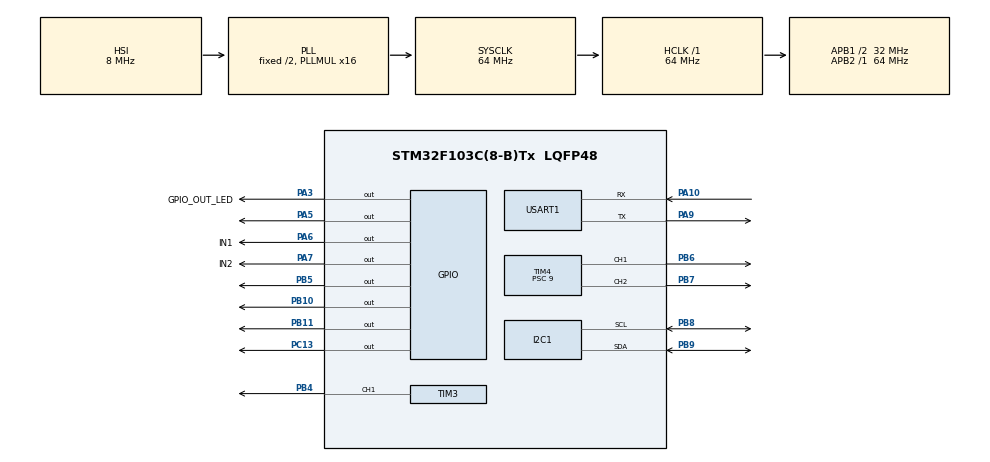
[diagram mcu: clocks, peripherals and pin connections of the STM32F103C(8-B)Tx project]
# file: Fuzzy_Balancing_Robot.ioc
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Mcu.Family=STM32F1
Mcu.Name=STM32F103C(8-B)Tx
Mcu.Package=LQFP48
NVIC.PriorityGroup=NVIC_PRIORITYGROUP_4
NVIC.TIM1_UP_IRQn=true\:0\:0\:false\:false\:true\:true\:true\:true
PA10.Mode=Asynchronous
PA10.Signal=USART1_RX
PA13.Mode=Serial_Wire
PA13.Signal=SYS_JTMS-SWDIO
PA14.Mode=Serial_Wire
PA14.Signal=SYS_JTCK-SWCLK
PA3.GPIO_Label=GPIO_OUT_LED
PA3.Signal=GPIO_Output
PA5.Signal=GPIO_Output
PA6.GPIO_Label=IN1
PA6.Signal=GPIO_Output
PA7.GPIO_Label=IN2
PA7.Signal=GPIO_Output
PA9.Mode=Asynchronous
PA9.Signal=USART1_TX
PB10.Signal=GPIO_Output
PB11.Signal=GPIO_Output
PB4.Signal=S_TIM3_CH1
PB5.Signal=GPIO_Output
PB6.Signal=S_TIM4_CH1
PB7.Signal=S_TIM4_CH2
PB8.Mode=I2C
PB8.Signal=I2C1_SCL
PB9.Mode=I2C
PB9.Signal=I2C1_SDA
PC13-TAMPER-RTC.Signal=GPIO_Output
PD0-OSC_IN.Mode=HSE-External-Oscillator
PD0-OSC_IN.Signal=RCC_OSC_IN
PD1-OSC_OUT.Mode=HSE-External-Oscillator
PD1-OSC_OUT.Signal=RCC_OSC_OUT
ProjectManager.HeapSize=0x200
ProjectManager.StackSize=0x400
ProjectManager.TargetToolchain=STM32CubeIDE
RCC.AHBFreq_Value=64000000
RCC.APB1CLKDivider=RCC_HCLK_DIV2
RCC.APB1Freq_Value=32000000
RCC.APB1TimFreq_Value=64000000
RCC.APB2Freq_Value=64000000
RCC.APB2TimFreq_Value=64000000
RCC.HCLKFreq_Value=64000000
RCC.PLLMUL=RCC_PLL_MUL16
RCC.SYSCLKFreq_VALUE=64000000
RCC.SYSCLKSource=RCC_SYSCLKSOURCE_PLLCLK
RCC.USBFreq_Value=64000000
SH.S_TIM3_CH1.0=TIM3_CH1,PWM Generation1 CH1
SH.S_TIM4_CH1.0=TIM4_CH1,PWM Generation1 CH1
SH.S_TIM4_CH2.0=TIM4_CH2,PWM Generation2 CH2
TIM1.Period=499
TIM1.Prescaler=639
TIM3.Channel-PWM\ Generation1\ CH1=TIM_CHANNEL_1
TIM3.Period=3199
TIM3.Prescaler=9
TIM4.Channel-PWM\ Generation1\ CH1=TIM_CHANNEL_1
TIM4.Channel-PWM\ Generation2\ CH2=TIM_CHANNEL_2
TIM4.Period=3199
TIM4.Prescaler=9
USART1.VirtualMode=VM_ASYNC
VP_TIM1_VS_ClockSourceINT.Mode=Internal
board=custom

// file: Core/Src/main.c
/* USER CODE BEGIN Header */
/**
  ******************************************************************************
  * @file           : main.c
  * @brief          : Main program body
  ******************************************************************************
  * @attention
  *
  * Copyright (c) 2024 STMicroelectronics.
  * All rights reserved.
  *
  * This software is licensed under terms that can be found in the LICENSE file
  * in the root directory of this software component.
  * If no LICENSE file comes with this software, it is provided AS-IS.
  *
  ******************************************************************************
  */
/* USER CODE END Header */
#include "main.h"

/* USER CODE BEGIN Includes */
#include "mpu6050.h"
#include "fuzzy.h"
/* USER CODE END Includes */

/* USER CODE BEGIN PTD */
typedef struct {
	float input[2];
	float uk_fuzzy;
	float theta;
	float theta_dot;
} Para_Robot;
/* USER CODE END PTD */

/* USER CODE BEGIN PD */
#define THETA_OFFSET 2.5
#define THETA_OVER 60
#define PI 3.14159265358979323846
#define K_THETA 9
#define K_THETA_DOT 100
#define K_UK_FUZZY 3199
/* USER CODE END PD */

I2C_HandleTypeDef hi2c1;

TIM_HandleTypeDef htim1;
TIM_HandleTypeDef htim3;
TIM_HandleTypeDef htim4;

UART_HandleTypeDef huart1;

/* USER CODE BEGIN PV */
MPU6050_t MPU6050;
Para_Robot Parameters;
char forward, reverse;
/* USER CODE END PV */

void SystemClock_Config(void);
static void MX_GPIO_Init(void);
static void MX_TIM3_Init(void);
static void MX_USART1_UART_Init(void);
static void MX_TIM1_Init(void);
static void MX_I2C1_Init(void);
static void MX_TIM4_Init(void);
/* USER CODE BEGIN PFP */
void Init_All();
void Fuzzy_Process();
void motor_forward();
void motor_reverse();
void motor_stop();
void pwm_out(float duty);
/* USER CODE END PFP */

/* USER CODE BEGIN 0 */

/*
 * Some configs:
 * PB10-PB5: control left motor, using PWM TIM4 CH2, PB10 = 1 --> clockwise, PB5 = 1 --> anticlockwise
 * PA6-PA7: control right motor, using PWM TIM3 CH1, PA6 = 1 --> anticlockwsie, PA7 = 1 --> clockwise
 * --> forward: PB10 = 0, PB5 = 1 (left); PA6 = 0, PA7 = 1 (right)
 * --> reverse: PB10 = 1; PB5 = 0 (left); PA6 = 1; PA7 = 0 (right)
 */
/* USER CODE END 0 */

int main(void)
{

  /* MCU Configuration--------------------------------------------------------*/

  /* Reset of all peripherals, Initializes the Flash interface and the Systick. */
  HAL_Init();

  /* Configure the system clock */
  SystemClock_Config();

  /* Initialize all configured peripherals */
  MX_GPIO_Init();
  MX_TIM3_Init();
  MX_USART1_UART_Init();
  MX_TIM1_Init();
  MX_I2C1_Init();
  MX_TIM4_Init();
  /* USER CODE BEGIN 2 */
  Init_All();
  /* USER CODE END 2 */

  /* Infinite loop */
  while (1)
  {

  }
}

void SystemClock_Config(void)
{
  RCC_OscInitTypeDef RCC_OscInitStruct = {0};
  RCC_ClkInitTypeDef RCC_ClkInitStruct = {0};

  /** Initializes the RCC Oscillators according to the specified parameters
  * in the RCC_OscInitTypeDef structure.
  */
  RCC_OscInitStruct.OscillatorType = RCC_OSCILLATORTYPE_HSI;
  RCC_OscInitStruct.HSIState = RCC_HSI_ON;
  RCC_OscInitStruct.HSICalibrationValue = RCC_HSICALIBRATION_DEFAULT;
  RCC_OscInitStruct.PLL.PLLState = RCC_PLL_ON;
  RCC_OscInitStruct.PLL.PLLSource = RCC_PLLSOURCE_HSI_DIV2;
  RCC_OscInitStruct.PLL.PLLMUL = RCC_PLL_MUL16;
  if (HAL_RCC_OscConfig(&RCC_OscInitStruct) != HAL_OK)
  {
    Error_Handler();
  }

  /** Initializes the CPU, AHB and APB buses clocks
  */
  RCC_ClkInitStruct.ClockType = RCC_CLOCKTYPE_HCLK|RCC_CLOCKTYPE_SYSCLK
                              |RCC_CLOCKTYPE_PCLK1|RCC_CLOCKTYPE_PCLK2;
  RCC_ClkInitStruct.SYSCLKSource = RCC_SYSCLKSOURCE_PLLCLK;
  RCC_ClkInitStruct.AHBCLKDivider = RCC_SYSCLK_DIV1;
  RCC_ClkInitStruct.APB1CLKDivider = RCC_HCLK_DIV2;
  RCC_ClkInitStruct.APB2CLKDivider = RCC_HCLK_DIV1;

  if (HAL_RCC_ClockConfig(&RCC_ClkInitStruct, FLASH_LATENCY_2) != HAL_OK)
  {
    Error_Handler();
  }
}

static void MX_I2C1_Init(void)
{

  hi2c1.Instance = I2C1;
  hi2c1.Init.ClockSpeed = 100000;
  hi2c1.Init.DutyCycle = I2C_DUTYCYCLE_2;
  hi2c1.Init.OwnAddress1 = 0;
  hi2c1.Init.AddressingMode = I2C_ADDRESSINGMODE_7BIT;
  hi2c1.Init.DualAddressMode = I2C_DUALADDRESS_DISABLE;
  hi2c1.Init.OwnAddress2 = 0;
  hi2c1.Init.GeneralCallMode = I2C_GENERALCALL_DISABLE;
  hi2c1.Init.NoStretchMode = I2C_NOSTRETCH_DISABLE;
  if (HAL_I2C_Init(&hi2c1) != HAL_OK)
  {
    Error_Handler();
  }

}

static void MX_TIM1_Init(void)
{

  TIM_ClockConfigTypeDef sClockSourceConfig = {0};
  TIM_MasterConfigTypeDef sMasterConfig = {0};

  htim1.Instance = TIM1;
  htim1.Init.Prescaler = 639;
  htim1.Init.CounterMode = TIM_COUNTERMODE_UP;
  htim1.Init.Period = 499;
  htim1.Init.ClockDivision = TIM_CLOCKDIVISION_DIV1;
  htim1.Init.RepetitionCounter = 0;
  htim1.Init.AutoReloadPreload = TIM_AUTORELOAD_PRELOAD_DISABLE;
  if (HAL_TIM_Base_Init(&htim1) != HAL_OK)
  {
    Error_Handler();
  }
  sClockSourceConfig.ClockSource = TIM_CLOCKSOURCE_INTERNAL;
  if (HAL_TIM_ConfigClockSource(&htim1, &sClockSourceConfig) != HAL_OK)
  {
    Error_Handler();
  }
  sMasterConfig.MasterOutputTrigger = TIM_TRGO_RESET;
  sMasterConfig.MasterSlaveMode = TIM_MASTERSLAVEMODE_DISABLE;
  if (HAL_TIMEx_MasterConfigSynchronization(&htim1, &sMasterConfig) != HAL_OK)
  {
    Error_Handler();
  }

}

static void MX_TIM3_Init(void)
{

  TIM_MasterConfigTypeDef sMasterConfig = {0};
  TIM_OC_InitTypeDef sConfigOC = {0};

  htim3.Instance = TIM3;
  htim3.Init.Prescaler = 9;
  htim3.Init.CounterMode = TIM_COUNTERMODE_UP;
  htim3.Init.Period = 3199;
  htim3.Init.ClockDivision = TIM_CLOCKDIVISION_DIV1;
  htim3.Init.AutoReloadPreload = TIM_AUTORELOAD_PRELOAD_DISABLE;
  if (HAL_TIM_PWM_Init(&htim3) != HAL_OK)
  {
    Error_Handler();
  }
  sMasterConfig.MasterOutputTrigger = TIM_TRGO_RESET;
  sMasterConfig.MasterSlaveMode = TIM_MASTERSLAVEMODE_DISABLE;
  if (HAL_TIMEx_MasterConfigSynchronization(&htim3, &sMasterConfig) != HAL_OK)
  {
    Error_Handler();
  }
  sConfigOC.OCMode = TIM_OCMODE_PWM1;
  sConfigOC.Pulse = 0;
  sConfigOC.OCPolarity = TIM_OCPOLARITY_HIGH;
  sConfigOC.OCFastMode = TIM_OCFAST_DISABLE;
  if (HAL_TIM_PWM_ConfigChannel(&htim3, &sConfigOC, TIM_CHANNEL_1) != HAL_OK)
  {
    Error_Handler();
  }
  HAL_TIM_MspPostInit(&htim3);

}

static void MX_TIM4_Init(void)
{

  TIM_MasterConfigTypeDef sMasterConfig = {0};
  TIM_OC_InitTypeDef sConfigOC = {0};

  htim4.Instance = TIM4;
  htim4.Init.Prescaler = 9;
  htim4.Init.CounterMode = TIM_COUNTERMODE_UP;
  htim4.Init.Period = 3199;
  htim4.Init.ClockDivision = TIM_CLOCKDIVISION_DIV1;
  htim4.Init.AutoReloadPreload = TIM_AUTORELOAD_PRELOAD_DISABLE;
  if (HAL_TIM_PWM_Init(&htim4) != HAL_OK)
  {
    Error_Handler();
  }
  sMasterConfig.MasterOutputTrigger = TIM_TRGO_RESET;
  sMasterConfig.MasterSlaveMode = TIM_MASTERSLAVEMODE_DISABLE;
  if (HAL_TIMEx_MasterConfigSynchronization(&htim4, &sMasterConfig) != HAL_OK)
  {
    Error_Handler();
  }
  sConfigOC.OCMode = TIM_OCMODE_PWM1;
  sConfigOC.Pulse = 0;
  sConfigOC.OCPolarity = TIM_OCPOLARITY_HIGH;
  sConfigOC.OCFastMode = TIM_OCFAST_DISABLE;
  if (HAL_TIM_PWM_ConfigChannel(&htim4, &sConfigOC, TIM_CHANNEL_1) != HAL_OK)
  {
    Error_Handler();
  }
  if (HAL_TIM_PWM_ConfigChannel(&htim4, &sConfigOC, TIM_CHANNEL_2) != HAL_OK)
  {
    Error_Handler();
  }
  HAL_TIM_MspPostInit(&htim4);

}

static void MX_USART1_UART_Init(void)
{

  huart1.Instance = USART1;
  huart1.Init.BaudRate = 115200;
  huart1.Init.WordLength = UART_WORDLENGTH_8B;
  huart1.Init.StopBits = UART_STOPBITS_1;
  huart1.Init.Parity = UART_PARITY_NONE;
  huart1.Init.Mode = UART_MODE_TX_RX;
  huart1.Init.HwFlowCtl = UART_HWCONTROL_NONE;
  huart1.Init.OverSampling = UART_OVERSAMPLING_16;
  if (HAL_UART_Init(&huart1) != HAL_OK)
  {
    Error_Handler();
  }

}

static void MX_GPIO_Init(void)
{
  GPIO_InitTypeDef GPIO_InitStruct = {0};

  /* GPIO Ports Clock Enable */
  __HAL_RCC_GPIOC_CLK_ENABLE();
  __HAL_RCC_GPIOD_CLK_ENABLE();
  __HAL_RCC_GPIOA_CLK_ENABLE();
  __HAL_RCC_GPIOB_CLK_ENABLE();

  /*Configure GPIO pin Output Level */
  HAL_GPIO_WritePin(GPIOC, GPIO_PIN_13, GPIO_PIN_RESET);

  /*Configure GPIO pin Output Level */
  HAL_GPIO_WritePin(GPIOA, GPIO_OUT_LED_Pin|GPIO_PIN_5|IN1_Pin|IN2_Pin, GPIO_PIN_RESET);

  /*Configure GPIO pin Output Level */
  HAL_GPIO_WritePin(GPIOB, GPIO_PIN_10|GPIO_PIN_11|GPIO_PIN_5, GPIO_PIN_RESET);

  /*Configure GPIO pin : PC13 */
  GPIO_InitStruct.Pin = GPIO_PIN_13;
  GPIO_InitStruct.Mode = GPIO_MODE_OUTPUT_PP;
  GPIO_InitStruct.Pull = GPIO_NOPULL;
  GPIO_InitStruct.Speed = GPIO_SPEED_FREQ_LOW;
  HAL_GPIO_Init(GPIOC, &GPIO_InitStruct);

  /*Configure GPIO pins : GPIO_OUT_LED_Pin PA5 IN1_Pin IN2_Pin */
  GPIO_InitStruct.Pin = GPIO_OUT_LED_Pin|GPIO_PIN_5|IN1_Pin|IN2_Pin;
  GPIO_InitStruct.Mode = GPIO_MODE_OUTPUT_PP;
  GPIO_InitStruct.Pull = GPIO_NOPULL;
  GPIO_InitStruct.Speed = GPIO_SPEED_FREQ_LOW;
  HAL_GPIO_Init(GPIOA, &GPIO_InitStruct);

  /*Configure GPIO pins : PB10 PB11 PB5 */
  GPIO_InitStruct.Pin = GPIO_PIN_10|GPIO_PIN_11|GPIO_PIN_5;
  GPIO_InitStruct.Mode = GPIO_MODE_OUTPUT_PP;
  GPIO_InitStruct.Pull = GPIO_NOPULL;
  GPIO_InitStruct.Speed = GPIO_SPEED_FREQ_LOW;
  HAL_GPIO_Init(GPIOB, &GPIO_InitStruct);

}

/* USER CODE BEGIN 4 */
void Init_All()
{
	while (MPU6050_Init(&hi2c1) == 1);
	HAL_TIM_Base_Start_IT(&htim1);
	HAL_TIM_PWM_Start(&htim3, TIM_CHANNEL_1);
	HAL_TIM_PWM_Start(&htim4, TIM_CHANNEL_2);
}

void HAL_TIM_PeriodElapsedCallback(TIM_HandleTypeDef *htim)
{
	if(htim->Instance == htim1.Instance)
	{
		MPU6050_Read_All(&hi2c1, &MPU6050);
		Fuzzy_Process();
		if (Parameters.theta < -THETA_OVER || Parameters.theta > THETA_OVER)
		{
			motor_stop();
		}
		else if(Parameters.uk_fuzzy > 0)
		{
			motor_forward();
			pwm_out(Parameters.uk_fuzzy);
			forward = 1; //Just4Debugging
			reverse = 0;
		}
		else if(Parameters.uk_fuzzy < 0)
		{
			motor_reverse();
			pwm_out((-(Parameters.uk_fuzzy)));
			forward = 0; //Just4Debugging
			reverse = 1;
		}

		else
		{
			motor_stop();
		}
	}
}

void Fuzzy_Process()
{
	Parameters.theta = MPU6050.KalmanAngleY + THETA_OFFSET;
	Parameters.theta_dot = MPU6050.Gy;
	Parameters.input[0] = Parameters.theta * (1.0f/K_THETA);
	Parameters.input[1] = Parameters.theta_dot * (1.0f/K_THETA_DOT);
	limit_range(&(Parameters.input[0]));
	limit_range(&(Parameters.input[1]));
	Parameters.uk_fuzzy = (run_fuzzy(Parameters.input[0], Parameters.input[1])) * K_UK_FUZZY;
	Parameters.uk_fuzzy *= (1.0f/3199); //convert uk (-3199->3199 to -100->100)
}

void motor_forward()
{
	HAL_GPIO_WritePin(GPIOA, GPIO_PIN_6, 1); //IN1
	HAL_GPIO_WritePin(GPIOA, GPIO_PIN_7, 0); //IN2
	HAL_GPIO_WritePin(GPIOB, GPIO_PIN_10, 1); //IN3
	HAL_GPIO_WritePin(GPIOB, GPIO_PIN_5, 0); //IN4
}

void motor_reverse()
{
	HAL_GPIO_WritePin(GPIOA, GPIO_PIN_6, 0); //IN1
	HAL_GPIO_WritePin(GPIOA, GPIO_PIN_7, 1); //IN2
	HAL_GPIO_WritePin(GPIOB, GPIO_PIN_10, 0); //IN3
	HAL_GPIO_WritePin(GPIOB, GPIO_PIN_5, 1); //IN4
}

void motor_stop()
{
	HAL_GPIO_WritePin(GPIOA, GPIO_PIN_6, 0); //IN1
	HAL_GPIO_WritePin(GPIOA, GPIO_PIN_7, 0); //IN2
	HAL_GPIO_WritePin(GPIOB, GPIO_PIN_10, 0); //IN3
	HAL_GPIO_WritePin(GPIOB, GPIO_PIN_5, 0); //IN4
	pwm_out(0);
}

void pwm_out(float duty) //duty 0->1 (not 0->100), uk -1->1
{
	if (duty > 1) duty = 1;
	if (duty < 0) duty = 0;
	htim3.Instance->CCR1 = (htim3.Instance->ARR) * (duty); //hardware
	htim4.Instance->CCR2 = (htim4.Instance->ARR) * (duty);
}

/* USER CODE END 4 */

void Error_Handler(void)
{
  __disable_irq();
  while (1)
  {
  }
}
